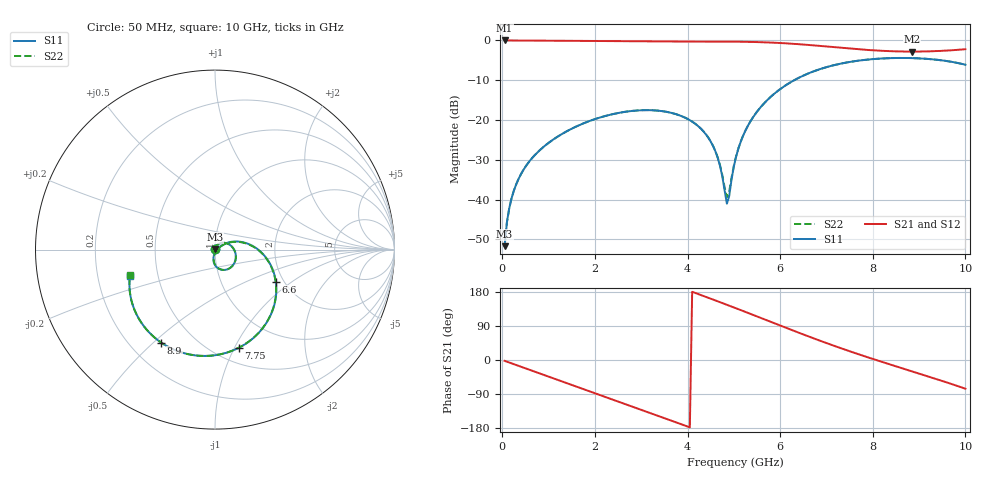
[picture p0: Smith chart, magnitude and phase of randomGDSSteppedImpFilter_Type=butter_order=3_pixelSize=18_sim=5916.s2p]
! freq	dB(S11)	phase(S11)	dB(S12)	phase(S12)
!  dB(S21)	phase(S21)	dB(S22)	phase(S22)
!S-par simulation data
#  GHz  S  DB  R 50
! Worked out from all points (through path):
!   200 points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, 50 MHz to 10 GHz, reference 50 ohm
!   highest |S21| = 0.00 dB at 50 MHz (marker M1); lowest = -2.8 dB at 8.85 GHz (marker M2)
!   group delay of S21, straight-line fit = 123 ps
!   lowest |S11| = -51.7 dB at 50 MHz (marker M3), VSWR 1.01, Z = 50 + j0.259 ohm
!   |S11| at or under -10 dB: start of sweep to 6.303 GHz
!   |S22| runs from -51.7 to -4.4 dB; largest |S21 - S12| = 0
!   S11 on the Smith chart (normalised r, x): 50 MHz: 1.00, +0.01; 6.6 GHz: 1.82, -0.76; 7.75 GHz: 0.65, -1.04; 8.9 GHz: 0.33, -0.53; 10 GHz: 0.34, -0.13
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0.05  -51.72 86.3  -0.00 -2.2  -0.00 -2.2  -51.73 86.3
0.1  -45.71 84.8  -0.01 -4.5  -0.01 -4.5  -45.71 84.8
0.2  -39.69 80.7  -0.02 -8.8  -0.02 -8.8  -39.69 80.7
0.5  -31.76 67.7  -0.03 -22.0  -0.03 -22.0  -31.76 67.7
1.15  -24.52 40.0  -0.07 -50.4  -0.07 -50.4  -24.52 40.1
1.75  -20.86 14.2  -0.12 -76.6  -0.12 -76.6  -20.86 14.5
2.55  -18.14 -20.5  -0.19 -111.6  -0.19 -111.6  -18.14 -20.2
3.4  -17.70 -57.0  -0.26 -148.9  -0.26 -148.9  -17.69 -56.5
4.4  -23.66 -97.1  -0.28 166.4  -0.28 166.4  -23.63 -95.7
4.65  -29.45 -101.0  -0.28 155.0  -0.28 155.0  -29.33 -98.1
4.85  -41.04 -45.2  -0.29 145.7  -0.29 145.7  -39.42 -43.4
5.05  -29.17 31.3  -0.31 136.4  -0.31 136.4  -29.04 28.3
5.25  -22.68 29.7  -0.34 126.9  -0.34 126.9  -22.65 28.2
5.6  -16.50 16.8  -0.44 110.2  -0.44 110.2  -16.49 16.0
6.1  -11.43 -5.2  -0.71 86.3  -0.71 86.3  -11.43 -5.7
6.6  -8.34 -27.8  -1.12 62.8  -1.12 62.8  -8.33 -28.1
6.7  -7.87 -32.2  -1.22 58.2  -1.22 58.2  -7.87 -32.5
7.75  -4.99 -76.4  -2.27 12.8  -2.27 12.8  -4.99 -76.5
8.35  -4.46 -99.5  -2.69 -10.8  -2.69 -10.8  -4.46 -99.6
8.85  -4.44 -118.1  -2.80 -30.0  -2.80 -30.0  -4.44 -118.3
8.9  -4.46 -120.0  -2.80 -31.9  -2.80 -31.9  -4.46 -120.1
10  -6.11 -163.0  -2.20 -75.8  -2.20 -75.8  -6.11 -163.1
